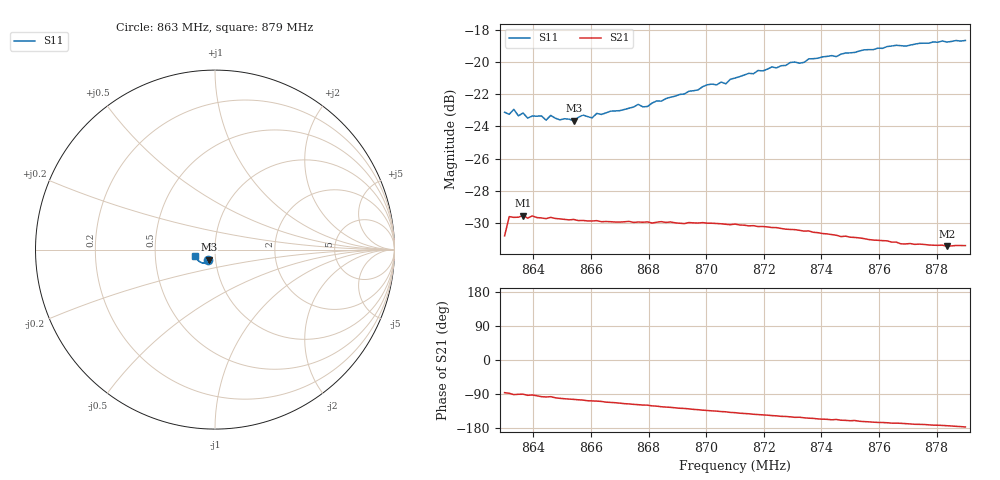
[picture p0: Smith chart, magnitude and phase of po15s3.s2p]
# HZ S RI R 50
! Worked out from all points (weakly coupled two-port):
!   101 points, 863 MHz to 879 MHz, reference 50 ohm
!   highest |S21| = -29.55 dB at 863.64 MHz (marker M1); lowest = -31.5 dB at 878.36 MHz (marker M2)
!   lowest |S11| = -23.6 dB at 865.4 MHz (marker M3), VSWR 1.14, Z = 46.4 - j5.24 ohm
!   |S11| at or under -10 dB: start of sweep to end of sweep
!   S12 and S22 are empty: the file has one direction only
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8.63e8  -0.0408 -0.0567  0.00192 -0.0288  0 0  0 0
8.6316e8  -0.0412 -0.0552  0.00126 -0.033  0 0  0 0
8.6332e8  -0.0455 -0.0549  -0.000795 -0.0329  0 0  0 0
8.6348e8  -0.0414 -0.0541  -0.00025 -0.0329  0 0  0 0
8.6364e8  -0.043 -0.0546  -0.000119 -0.0333  0 0  0 0
8.638e8  -0.0387 -0.0547  -0.00182 -0.0327  0 0  0 0
8.6428e8  -0.0381 -0.0564  -0.00386 -0.0325  0 0  0 0
8.6444e8  -0.0374 -0.0544  -0.0043 -0.0323  0 0  0 0
8.646e8  -0.0405 -0.055  -0.0039 -0.0327  0 0  0 0
8.654e8  -0.0341 -0.0562  -0.00781 -0.0315  0 0  0 0
8.6572e8  -0.0345 -0.0592  -0.00875 -0.031  0 0  0 0
8.6604e8  -0.0333 -0.0582  -0.00993 -0.0305  0 0  0 0
8.662e8  -0.0352 -0.0597  -0.0101 -0.0305  0 0  0 0
8.6796e8  -0.035 -0.0638  -0.0155 -0.0278  0 0  0 0
8.6844e8  -0.0371 -0.0659  -0.0175 -0.0266  0 0  0 0
8.7004e8  -0.044 -0.0728  -0.0216 -0.023  0 0  0 0
8.7068e8  -0.0453 -0.0727  -0.0228 -0.0215  0 0  0 0
8.71e8  -0.0494 -0.0744  -0.0236 -0.0206  0 0  0 0
8.7372e8  -0.0692 -0.0757  -0.0266 -0.0129  0 0  0 0
8.7644e8  -0.0939 -0.0615  -0.0268 -0.00639  0 0  0 0
8.7836e8  -0.1072 -0.043  -0.0266 -0.00307  0 0  0 0
8.79e8  -0.1109 -0.0369  -0.0268 -0.00153  0 0  0 0
